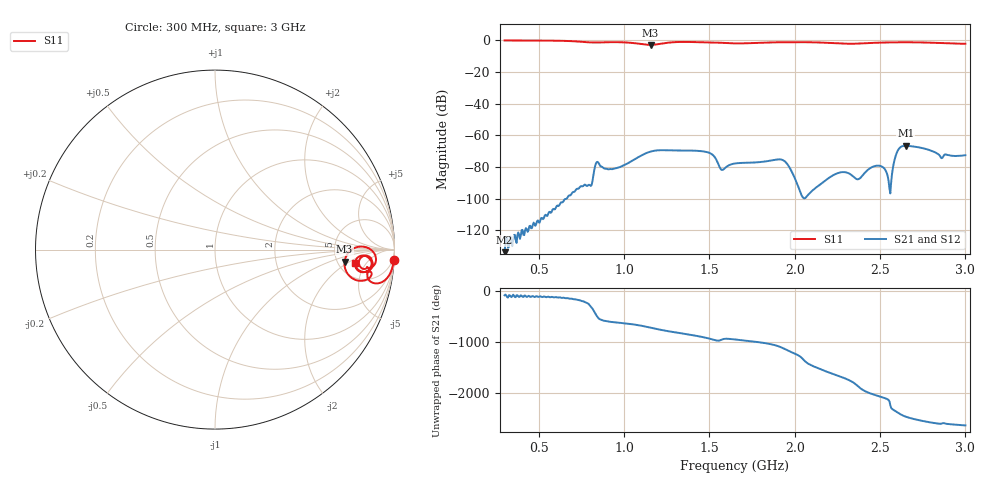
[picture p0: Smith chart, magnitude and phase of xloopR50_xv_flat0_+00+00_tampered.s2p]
! xloopR50_xv_flat0_+00+00_tampered, gap C 0.80 pF
! simulated by sim/fixtures_fdtd.py (S12 = S21, S22 not computed)
# HZ S RI R 50
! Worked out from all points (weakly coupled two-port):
!   541 points, 300 MHz to 3 GHz, reference 50 ohm
!   highest |S21| = -66.58 dB at 2.65 GHz (marker M1); lowest = -134.0 dB at 300 MHz (marker M2)
!   lowest |S11| = -2.8 dB at 1.155 GHz (marker M3), VSWR 6.27, Z = 289 - j83.1 ohm
!   |S11| at or under -10 dB: nowhere
!   |S22| runs from - to - dB; largest |S21 - S12| = 0
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3e8  0.9966 -0.0577  -0 -2e-07  -0 -2e-07  0 0
7.5e8  0.8864 -0.187  -2.33e-05 8.8e-06  -2.33e-05 8.8e-06  0 0
8.2e8  0.8493 -0.1461  5.08e-05 -1.77e-05  5.08e-05 -1.77e-05  0 0
8.45e8  0.8486 -0.1322  -0.000135 -5.38e-05  -0.000135 -5.38e-05  0 0
8.75e8  0.8609 -0.1227  -7.38e-05 6.44e-05  -7.38e-05 6.44e-05  0 0
9.75e8  0.865 -0.1531  -1.4e-06 9.94e-05  -1.4e-06 9.94e-05  0 0
1.155e9  0.7218 -0.0681  0.000307 -1.74e-05  0.000307 -1.74e-05  0 0
1.2e9  0.7635 0.00109  0.000274 -0.000198  0.000274 -0.000198  0 0
1.47e9  0.8557 -0.1014  -0.000299 7.3e-05  -0.000299 7.3e-05  0 0
1.52e9  0.8465 -0.0964  -0.000137 0.000197  -0.000137 0.000197  0 0
1.57e9  0.8344 -0.1081  -3.93e-05 7.21e-05  -3.93e-05 7.21e-05  0 0
1.65e9  0.802 -0.0778  -7.52e-05 0.000105  -7.52e-05 0.000105  0 0
1.91e9  0.8729 -0.0561  0.00017 -4.2e-05  0.00017 -4.2e-05  0 0
1.975e9  0.8774 -0.07  -3.46e-05 -7.81e-05  -3.46e-05 -7.81e-05  0 0
2.1e9  0.867 -0.1101  1.6e-05 -7e-06  1.6e-05 -7e-06  0 0
2.55e9  0.8629 -0.0537  3.4e-05 1.31e-05  3.4e-05 1.31e-05  0 0
2.575e9  0.8673 -0.0599  -8.8e-05 -2.63e-05  -8.8e-05 -2.63e-05  0 0
2.615e9  0.8727 -0.0732  -0.00015 0.000375  -0.00015 0.000375  0 0
2.65e9  0.8717 -0.0856  0.000256 0.000393  0.000256 0.000393  0 0
2.78e9  0.8464 -0.1205  0.000242 -0.000263  0.000242 -0.000263  0 0
2.86e9  0.8137 -0.1247  3.61e-05 -0.000187  3.61e-05 -0.000187  0 0
3e9  0.782 -0.0729  -0.000102 -0.000213  -0.000102 -0.000213  0 0
